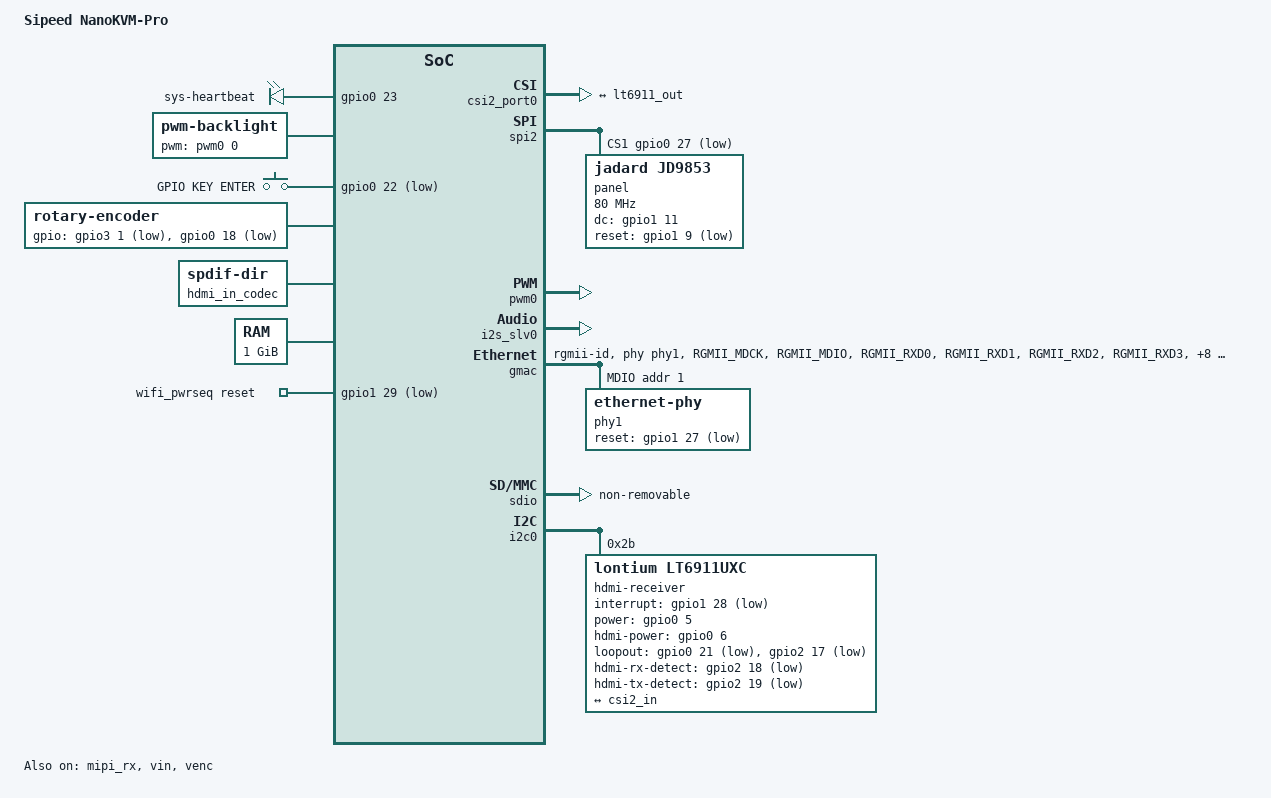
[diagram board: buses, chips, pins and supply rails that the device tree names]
// SPDX-License-Identifier: GPL-2.0
/dts-v1/;

/*
 * Sipeed NanoKVM-Pro (Axera AX630C) -- minimal mainline board DT (#74).
 *
 * Board facts only: memory size, the firmware carveouts, the console, and a
 * cmdline that satisfies the U-Boot contract. Peripherals arrive with their
 * drivers (see ax630c.dtsi).
 */

#include <dt-bindings/gpio/gpio.h>
#include <dt-bindings/input/linux-event-codes.h>

#include "ax630c.dtsi"

/ {
	model = "Sipeed NanoKVM-Pro";
	compatible = "sipeed,nanokvm-pro", AX630C_SOC_COMPAT;

	aliases {
		serial0 = &uart0;
		ethernet0 = &gmac;
	};

	/*
	 * The heartbeat LED (#81). GPIO0_A23 on pad SD_PWR_EN, active high.
	 *
	 * No linux,default-trigger: the bring-up initramfs blinks this line
	 * itself through /dev/mem, because on a kernel with no rootfs it is the
	 * only channel that says "userspace was reached" to a human in the
	 * room. A kernel heartbeat trigger would fight it. What the node is
	 * for meanwhile is ownership -- it is the cheapest end-to-end proof
	 * that gpio-ranges reached the pin controller, since a claimed line
	 * shows up in both /sys/kernel/debug/gpio and pinmux-pins.
	 *
	 * The same line is `reset-gpio` of the vendor DT's panel_dsi node.
	 * That node is disabled on this board and has no mainline counterpart,
	 * but do not be surprised to find GPIO0_A23 described as a panel reset
	 * elsewhere.
	 */
	leds {
		compatible = "gpio-leds";

		led-heartbeat {
			label = "sys-heartbeat";
			gpios = <&gpio0 23 GPIO_ACTIVE_HIGH>;
			default-state = "off";
		};
	};

	/*
	 * The mini-display's backlight (#84). `bl_power` 0/1 and `brightness`
	 * 0..100 under /sys/class/backlight/backlight is the ABI the status
	 * daemon uses to blank the panel after three idle minutes, and the
	 * node name is what names that directory -- do not rename it.
	 *
	 * The three brightness properties are the vendor's: two levels with
	 * 100 interpolated steps between them, so max_brightness is 100 and
	 * the mapping is linear. The period is 462963 ns = 2160 Hz, which at
	 * the 24 MHz counter clock is 11111 ticks.
	 *
	 * PWM_POLARITY_NORMAL, and it is load-bearing. The DesignWare PWM
	 * holds the LOW period in one register and the HIGH period in the
	 * other, and upstream's driver models that as inversed polarity only
	 * -- so brightness would run backwards. Patch 0002 teaches the core
	 * both directions; this cell is what asks for the one that makes a
	 * longer high period brighter, which is how the vendor drives it.
	 */
	backlight: backlight {
		compatible = "pwm-backlight";
		pwms = <&pwm0 0 462963 0>;	/* 0 = PWM_POLARITY_NORMAL */
		brightness-levels = <0 101>;
		num-interpolated-steps = <100>;
		default-brightness-level = <100>;
	};

	/*
	 * The knob (#84), which is a rotary encoder with a push switch.
	 *
	 * No pinctrl-0 on either node, for the same reason the ATX lines have
	 * none: all three pads are GPIOs, and requesting a GPIO line is what
	 * programs the pad's mux (gpio-ranges -> gpio_request_enable).
	 *
	 * The node names are an ABI here, not a style choice. gpio_keys takes
	 * the input device's name from `label` or, absent that, from the
	 * platform device's name, which comes from the node -- and
	 * nanokvm-display finds its two wake sources by EVIOCGNAME. `label`
	 * pins the button's name; the encoder's node name is what pins its.
	 */
	gpio-keys {
		compatible = "gpio-keys";
		label = "gpio_keys";
		autorepeat;

		key-knob {
			label = "GPIO KEY ENTER";
			linux,code = <KEY_ENTER>;
			gpios = <&gpio0 22 GPIO_ACTIVE_LOW>;
			debounce-interval = <10>;
		};
	};

	rotary-encoder {
		compatible = "rotary-encoder";
		gpios = <&gpio3 1 GPIO_ACTIVE_LOW>, <&gpio0 18 GPIO_ACTIVE_LOW>;
		linux,axis = <0>;		/* REL_X */
		rotary-encoder,encoding = "gray";
		rotary-encoder,relative-axis;
		rotary-encoder,steps-per-period = <4>;
	};

	/*
	 * HDMI audio (#84). The LT6911UXC recovers the audio embedded in the
	 * HDMI stream and clocks it out as I2S; the SoC is a pure slave on
	 * both the bit clock and the frame clock, which is what
	 * bitclock-master/frame-master pointing at the codec says.
	 *
	 * THE CODEC IS A STUB, because there is nothing to program: the
	 * bridge's audio side is configured over its own I2C interface by
	 * drivers/misc/lt6911-manage.c, not by ASoC. The vendor invented a
	 * `dummy-codec` driver for this; mainline's equivalent is
	 * `linux,spdif-dir`, whose binding is literally titled "Dummy SPDIF
	 * Transmitter/Receiver". It is capture-only, which is also correct
	 * here -- the vendor's stub advertised a playback stream this board
	 * cannot have.
	 *
	 * The card name is the vendor's verbatim: it is what `arecord -l`
	 * prints and what libkvm's ALSA capture opens by index.
	 */
	hdmi_in_codec: spdif-in {
		compatible = "linux,spdif-dir";
		#sound-dai-cells = <0>;
	};

	sound {
		compatible = "simple-audio-card";
		simple-audio-card,name = "Lontium Lt6911UXC";
		simple-audio-card,format = "i2s";
		simple-audio-card,bitclock-master = <&lt6911_codec>;
		simple-audio-card,frame-master = <&lt6911_codec>;

		simple-audio-card,cpu {
			sound-dai = <&i2s_slv0>;
		};

		lt6911_codec: simple-audio-card,codec {
			sound-dai = <&hdmi_in_codec>;
		};
	};

	chosen {
		stdout-path = "serial0:115200n8";

		/*
		 * U-Boot overwrites this from its `bootargs` env at `booti`
		 * (fdt_chosen), so the string here is a documented default, not
		 * the authority. Two traps it encodes (docs/mainline-port.md
		 * section 5):
		 *
		 *  - blkdevparts= IS U-Boot's partition table. U-Boot parses it
		 *    out of its own env; if the clause is missing it silently
		 *    resets the env to the vendor BOOTARGS_EMMC. Never ship a
		 *    cmdline without it.
		 *  - fdt_chosen needs free space in the blob or boot_prep_linux
		 *    calls hang(). pkgs/dtb-mainline.nix passes `dtc -p 4096`
		 *    so a longer env string always fits.
		 *
		 * No mem= clause: the memory node below is correct, unlike the
		 * vendor DT's, so the kernel does not need to be told twice.
		 * U-Boot appends its own mem= from the board-id ADC read; that
		 * is harmless and will be dropped when U-Boot moves (#26).
		 *
		 * The clause below is the MINIMAL layout (#89 rung 4): six
		 * partitions, no A/B twins, no ddrinit/optee/logo/kernel/dtb.
		 * nixos/lib/emmc-layout.nix is where it is defined and it
		 * ASSERTS that this string matches, so the two cannot drift.
		 */
		bootargs = "console=ttyS0,115200n8 earlycon=uart8250,mmio32,0x4880000 loglevel=8 root=/dev/mmcblk0p6 rootfstype=ext4 rw rootwait blkdevparts=mmcblk0:768K(spl),256K(atf),1536K(uboot),256K(env),275M(boot),-(rootfs)";
	};

	/*
	 * 1 GiB. The vendor DT claims 3 GiB (0xC0000000) and relies on U-Boot's
	 * mem= to cut it down -- wrong for every NanoKVM-Pro variant. Board
	 * variants differ only in this node.
	 */
	memory@40000000 {
		device_type = "memory";
		reg = <0x0 0x40000000 0x0 0x40000000>;
	};

	reserved-memory {
		#address-cells = <2>;
		#size-cells = <2>;
		ranges;

		/* TF-A 2.7. no-map: secondary CPU bring-up runs from here. */
		atf@40040000 {
			reg = <0x0 0x40040000 0x0 0x40000>;
			no-map;
		};

		/*
		 * OP-TEE 3.21, firewalled by the ATF. Nothing in our stack
		 * calls it (no TEEC_ or tee_ symbol in any component), but the region
		 * must stay reserved regardless -- the secure world is using
		 * it whether or not Linux talks to it.
		 */
		optee@44200000 {
			reg = <0x0 0x44200000 0x0 0x2000000>;
			no-map;
		};

		/*
		 * The vendor kernel's pstore zones. Kept reserved, and untouched,
		 * so that a mainline excursion on slot B does not destroy the
		 * crash history of the slot-A system that has to diagnose it.
		 * The vendor DT declares one ramoops region here, 0xf0000 long,
		 * whose zones only reach 0x480e0000 -- everything past that is
		 * reserved on both sides and used by neither, which is why the
		 * two regions below can live there.
		 */
		vendor-pstore@48000000 {
			reg = <0x0 0x48000000 0x0 0xd4000>;
			no-map;
		};

		/*
		 * Our ramoops, deliberately NOT at the head of the window: the
		 * vendor kernel's own ramoops zaps every zone it owns at its
		 * probe, about 1.5 s into the boot that would read ours. A log
		 * written at 0x48000000 is destroyed by the very kernel meant to
		 * recover it (measured 2026-09-06).
		 *
		 * More precisely, this sits inside the DATA area of the vendor
		 * ramoops' ftrace zone (0x480d0000-0x480f0000). Nothing writes
		 * that data unless pstore function tracing is switched on, and
		 * the zap at the vendor's probe rewrites only the zone's own
		 * 12-byte header at 0x480d0000 -- which is why this region
		 * starts at 0x480d4000 and not at that header. Confirmed on
		 * hardware: a full mainline boot log written here was still
		 * intact after the vendor kernel had booted and read it.
		 *
		 * mem-type 1 is uncached. On a board whose only reset is a
		 * watchdog or a raw chip reset, neither of which writes back
		 * dirty cache lines, a cacheable pstore zone is a log that
		 * evaporates in exactly the case it exists for.
		 *
		 * Both sizes are powers of two because ramoops rounds them down
		 * to one anyway, so a DT that has to be simulated to know its
		 * own layout is worse than a DT that is simply explicit. 0x8000
		 * console and the 0x4000 remainder as two 0x2000 dump records.
		 *
		 * **The console zone must hold a WHOLE boot log.** At 0x4000 it
		 * did not: a full appliance boot is 25478 bytes of console text
		 * (measured), the ring kept only the last 16 KB, and the MDIO
		 * bus scan at t=1 s -- the thing rung 2q had to see -- had been
		 * overwritten by the time the board reset. 0x8000 covers it.
		 *
		 * The region also stops at 0x480e0000 on purpose: a slot-B
		 * excursion is read back by a slot-A system that may still be
		 * running an OLDER dtb, whose own ramoops owns 0x480e0000
		 * upwards and zeroes it on the very boot that is supposed to
		 * recover the log. Keep this window disjoint from every address
		 * the reader might claim.
		 *
		 * This is the only channel that survives when userspace never
		 * runs: the console zone holds the boot log from the first
		 * printk (pstore's console registers with CON_PRINTBUFFER, so
		 * the buffered log is replayed into it), and the dump zone holds
		 * the panic.
		 *
		 * Reading it back is NOT `ls /sys/fs/pstore`. systemd-pstore
		 * archives every record into /var/lib/systemd/pstore and unlinks
		 * it about ten seconds into each boot, under fixed names that the
		 * next boot overwrites -- and the unlink calls
		 * ramoops_pstore_erase(), which zaps the LIVE console zone.
		 */
		ramoops@480d4000 {
			compatible = "ramoops";
			reg = <0x0 0x480d4000 0x0 0xc000>;
			console-size = <0x8000>;
			record-size = <0x2000>;
			mem-type = <1>;
		};

		/*
		 * The bring-up initramfs's kernel-log stash
		 * (pkgs/kernel-mainline/initramfs/bringup-init.c). Mapped, not
		 * no-map, and written through an O_SYNC /dev/mem mapping, which
		 * arm64 makes write-combining -- so it reaches DRAM without
		 * depending on a cache flush that no reset on this SoC performs.
		 *
		 * Read it back from the vendor system after the excursion:
		 *   dd if=/dev/mem bs=4096 skip=$((0x480e8000/4096)) count=8
		 * The first 32 bytes are a magic string and a u32 length at +24.
		 */
		bringup-log@480e8000 {
			reg = <0x0 0x480e8000 0x0 0x8000>;
		};

		/*
		 * The video carveouts (#83), at the ADDRESSES THE 4.19 IMAGE
		 * HAS BEEN DMAing TO SINCE #53 -- 0x73800000-0x7FFFFFFF, the
		 * top 200 MiB of the GiB. On 4.19 a shell loader computed this
		 * split from the board-id ADC read and passed it to three
		 * modules as parameters; here it is three DT nodes, and
		 * `compute_mem_map` has no counterpart at all.
		 *
		 * They are ABOVE what the kernel treats as RAM, and that is
		 * deliberate rather than accidental. The command line carries
		 * `mem=512M` (boot.kernelParams, nixos/appliance.nix), so memblock ends at
		 * 0x60000000 and none of this is System RAM; `no-map` regions
		 * outside memory are explicitly supported
		 * (drivers/of/of_reserved_mem.c: "don't worry if the region
		 * isn't memory as it won't be mapped"), and the DMA pool code
		 * memremaps them write-combining, which is exactly what
		 * dma_declare_coherent_memory() did on 4.19. So this works
		 * whatever `mem=` ends up being, and raising it later cannot
		 * silently eat these regions.
		 *
		 * no-map on all three, not `reusable`: the WDMA and the encoder
		 * consume bus addresses out of a register program, so the
		 * region has to be at a fixed place, and the kernel must never
		 * hand any of it to the page allocator.
		 */

		/*
		 * Encoder frame buffers. NOT a dma pool -- the kernel never
		 * maps this at all; the driver hands out bus addresses from a
		 * first-fit list of its own (vc8000e/framebuf_alloc.c) and
		 * userspace mmaps them write-combining through the char
		 * device. No power-of-two tax here, unlike the capture pool
		 * below: a floorplan costs exactly its span.
		 *
		 * 96 MiB, down from 136 (#98) to pay for the capture pool. The
		 * shipped path allocates one floorplan at a time with
		 * want_input = 0: 14.97 MiB at 1080p, 59.21 at 3840x2160,
		 * 63.14 at 4096x2160, 70.43 at the 4096x2400 corner. The
		 * standalone prover (ewl_encode) also reserves a 4*W*H input
		 * region, which it fills itself, and that floorplan is 90.86
		 * MiB at 3840x2160 and 96.89 at 4096x2160 -- so the prover now
		 * runs up to 3840x2160 and the live pipeline is the oracle
		 * above that. .#checks.open-venc-geometry pins both halves.
		 */
		venc_framebuf: venc-framebuf@73800000 {
			reg = <0x0 0x73800000 0x0 0x6000000>;
			no-map;
		};

		/*
		 * Capture buffers, 96 MiB (#98).
		 *
		 * THE SIZE IS NOT three-frames-worth OF BYTES. A declared
		 * coherent region is a bitmap allocator and
		 * dma_alloc_from_dev_coherent() rounds every allocation up to
		 * a power-of-two page order, aligned to itself, so a buffer
		 * costs 2^ceil(log2(frame)) -- 16 MiB for a 15.82 MiB
		 * 3840x2160 frame, and 32 MiB for anything from 16.01 to 32
		 * MiB, which is every geometry above 3840x2160. vb2 refuses
		 * REQBUFS outright below min_queued_buffers + 1 = 3 buffers,
		 * so the pool has to hold three of those 32 MiB slots.
		 *
		 * Measured on hardware before this was resized: out of 56 MiB
		 * the driver allocated three buffers at 3840x2160 and could
		 * not allocate a single one at 3840x2400, 4096x2160 or
		 * 4096x2400 -- so the 16:10 EDID this project ships (#61) was
		 * already unusable and nothing said so.
		 */
		capture_pool: capture-pool@79800000 {
			compatible = "shared-dma-pool";
			reg = <0x0 0x79800000 0x0 0x6000000>;
			no-map;
		};

		/*
		 * The VCMD engine's own three coherent pools (command, status,
		 * register), 2 MiB each plus slack.
		 */
		venc_cmdbuf: venc-cmdbuf@7f800000 {
			compatible = "shared-dma-pool";
			reg = <0x0 0x7f800000 0x0 0x800000>;
			no-map;
		};
	};

	/*
	 * The WiFi module's reset line (#85), as an MMC power sequencer rather
	 * than a driver-private GPIO.
	 *
	 * The vendor describes this radio as a platform device
	 * (`aicsemi,aic_bsp`, reset GPIO1_A29) whose driver toggles the line
	 * itself. That is not how mainline does an SDIO card: the reset has to
	 * be released BEFORE the host scans the bus, or the scan finds nothing
	 * and the SDIO driver is never probed at all. mmc-pwrseq-simple is the
	 * standard binding for exactly that, and it runs from the MMC core at
	 * card-power-up time.
	 *
	 * GPIO1_A29 is pad EPHY_LED1 (pinctrl pin 32, mux word 0x104F0078,
	 * GPIO = function 6). The pad is deliberately NOT in `gmac_pins` --
	 * see the comment there -- so claiming it here is what programs its
	 * mux, and nothing else on this board wants it.
	 *
	 * ACTIVE_LOW is the polarity the part's datasheet family uses for a
	 * RESETN pin and it is what the live board reads at the pad, but it is
	 * NOT hardware-verified for this line yet -- the first WiFi hardware
	 * round is what settles it. If the card never enumerates, this is the
	 * first thing to invert.
	 */
	wifi_pwrseq: wifi-pwrseq {
		compatible = "mmc-pwrseq-simple";
		reset-gpios = <&gpio1 29 GPIO_ACTIVE_LOW>;
		/*
		 * The radio's own boot takes a while after reset is released
		 * and the MMC core starts clocking the bus immediately. 200 ms
		 * is what the vendor stack waits before its first SDIO access.
		 */
		post-power-on-delay-ms = <200>;
	};
};

/*
 * The video path (#83). Three nodes enabled and one graph edge closed: the
 * LT6911UXC's MIPI output into the SoC's CSI-2 receiver.
 *
 * The lane map is the board's wiring and it lives here, in the endpoint, which
 * is the only place a board fact belongs. `clock-lanes = <2>` and
 * `data-lanes = <0 1 3 4>` are the PHYSICAL lane slots feeding the logical
 * clock and the four logical data lanes -- device-confirmed 2026-09-01 from
 * the vendor's own streaming state (the D-PHY swap mirror reads 0x0005c540;
 * a naive 0..5 map reads 0x00053940 and produces a locked PHY that forwards
 * short packets and no pixel data).
 */
&mipi_rx {
	status = "okay";
};

&csi2_port0 {
	csi2_in: endpoint {
		remote-endpoint = <&lt6911_out>;
		clock-lanes = <2>;
		data-lanes = <0 1 3 4>;
	};
};

&vin {
	status = "okay";
	memory-region = <&capture_pool>;
};

&venc {
	status = "okay";
	memory-region = <&venc_cmdbuf>, <&venc_framebuf>;
	memory-region-names = "cmdbuf", "framebuf";
};

/*
 * The mini-display (#84). A Jadard JD9853 on SPI2, chip select 1.
 *
 * CS0 IS A HOLE, deliberately. The controller has two chip selects; the
 * panel is on the second, and the pad that would carry the first is a GPIO on
 * this board. An empty phandle cell is the documented way to say "index 0 has
 * no GPIO" -- spi-controller.yaml allows it, and the SPI core takes the
 * native chip select for that index, which reaches a pad nothing is on.
 *
 * TWO GPIO POLARITIES THAT DISAGREE WITH THE VENDOR DEVICE TREE, and getting
 * either wrong is a blank panel with no error message:
 *
 *  - `dc-gpios` is ACTIVE_HIGH here where the vendor says active-low. 4.19
 *    fbtft drove this line with gpio_set_value(), which is the RAW API and
 *    ignores the flag; mainline uses gpiod_set_value(), which does not. The
 *    pad must be high for data and low for command either way.
 *  - `reset-gpios` STAYS active-low: fbtft_reset() asserts then deasserts
 *    logically, which with this flag is the same low-then-high pulse the
 *    vendor's raw writes produced.
 *
 * NO `te-gpios`. The vendor driver uses the panel's tearing-effect strobe to
 * start each frame at V-blank, and carries a workqueue, a 5 s liveness timer
 * and a second framebuffer to do it. The port drops all of that -- see the
 * comment at the top of drivers/staging/fbtft/fb_jd9853.c. The pad
 * (CDTX_L1P/GPIO2_A13) is left alone, which also keeps this off the list of
 * CDTX_* pads a pinctrl state must not move without parking the D-PHY
 * transmitter first.
 *
 * `rotate = <0>` is the framebuffer's own geometry, not the panel's mounting:
 * /dev/fb0 is 172x320 portrait and the daemon rotates into it. `buswidth` and
 * the SPI mode are the vendor's and are what the controller expects.
 */
&spi2 {
	status = "okay";
	cs-gpios = <0>, <&gpio0 27 GPIO_ACTIVE_LOW>;

	panel@1 {
		compatible = "jadard,jd9853";
		reg = <1>;
		spi-max-frequency = <80000000>;
		spi-cpol;
		spi-cpha;
		buswidth = <8>;
		rotate = <0>;
		fps = <90>;
		dc-gpios = <&gpio1 11 GPIO_ACTIVE_HIGH>;
		reset-gpios = <&gpio1 9 GPIO_ACTIVE_LOW>;
	};
};

&pwm0 {
	status = "okay";
};

&i2s_slv0 {
	status = "okay";
};

/*
 * Ethernet (#77). A Realtek RTL8211F at MDIO address 1, RGMII.
 *
 * NOT a JLSemi JL2101, whatever the vendor DT says. That DT declares
 * `compatible = "ethernet-phy-id937c.4030"` on this node, which makes the MDIO
 * core skip the bus read entirely and bind the vendor's JLSemi driver to
 * whatever is actually there. Read over MDIO on the running board 2026-09-06,
 * the part answers PHYID1 = 0x001c, PHYID2 = 0xc916 -- Realtek's RTL8211F, and
 * mainline's own realtek driver claims it. So there is no JL2101 driver to
 * write; that half of #77's scope simply does not exist on this hardware.
 *
 * Hence no `compatible` on the PHY node here: the scan reads the real ID.
 *
 * phy-mode = "rgmii-id", and this is the whole ballgame. The RTL8211F's two
 * 2 ns delays come up ENABLED from pin-strapping (measured: page 0xd08 TXCR
 * bit 8 = 1, RXCR bit 3 = 1 on the running vendor system), and the vendor's
 * JLSemi driver never writes them -- its RGMII block is compiled out. Mainline's
 * realtek driver is not so passive: rtl8211f_config_rgmii_delay() writes both
 * bits to match phy-mode, so "rgmii" DISABLES the delays the board is built
 * around. That failure looks like success -- the link trains and reports
 * 1 Gbps/full -- and then no frame survives. It cost one boot cycle to find.
 *
 * The twenty `jl2xxx,*` tuning properties the vendor DT carries are inert even
 * on the driver they were written for (each is gated behind a compile-time
 * operation mode that is NONE or C_MACRO), and irrelevant here regardless.
 */
&gmac {
	status = "okay";
	phy-mode = "rgmii-id";
	phy-handle = <&phy1>;
	pinctrl-names = "default";
	pinctrl-0 = <&gmac_pins>;

	mdio {
		compatible = "snps,dwmac-mdio";
		#address-cells = <1>;
		#size-cells = <0>;

		/*
		 * RSTn is GPIO1_A27, pad EPHY_RSTN, active low. The MDIO core
		 * pulses it when this device registers -- before it reads the
		 * PHY's ID, which is the only ordering that matters. Firmware
		 * does not drive it: on a cold or chip reset every GPIO line
		 * comes up an input, so RSTn is left to whatever the board
		 * pulls it to.
		 *
		 * The glue used to do this itself by poking the GPIO block's
		 * line word through an address in DT, because there was no
		 * GPIO controller to name (#77). #81 gave it one, and the two
		 * delays below are the ones that glue used.
		 */
		phy1: ethernet-phy@1 {
			reg = <1>;
			reset-gpios = <&gpio1 27 GPIO_ACTIVE_LOW>;
			reset-assert-us = <15000>;
			reset-deassert-us = <75000>;
		};
	};
};

/*
 * WiFi (#85). An AIC8800 on the SDIO host at 0x104d0000, described in
 * ax630c.dtsi and disabled there; this is the board saying a radio is soldered
 * to it.
 *
 * NO CHILD NODE. The driver binds by SDIO vendor/device ID (aicsdio.c's
 * `sdio_device_id` table -- vendor 0xc8a1 for the DC/D80 family, 0x5449 for
 * the 8801), which the card reports from its own CIS at enumeration. A
 * `compatible` child would describe nothing the bus does not already say, and
 * the chip variant is exactly the thing this board has not yet been asked.
 *
 * `non-removable` because it is soldered, and because it is what makes the MMC
 * core scan the bus at probe rather than waiting for a card-detect that does
 * not exist (the controller already has `broken-cd`). `cap-power-off-card`
 * lets the core cycle the pwrseq line across a rescan, which is the only way
 * back if the radio's firmware wedges. `keep-power-in-suspend` is free here --
 * this appliance does not suspend -- and is what the binding wants for an SDIO
 * function that must survive one.
 */
&sdio {
	status = "okay";
	non-removable;
	cap-power-off-card;
	keep-power-in-suspend;
	mmc-pwrseq = <&wifi_pwrseq>;
};

/*
 * ATX (#81). Four lines to the host's front-panel header, driven from
 * userspace: the KVM's whole reason to exist is pressing a button on a machine
 * that is not this one.
 *
 * They are named rather than hogged. A hog would claim them for the kernel and
 * put them out of reach of the chardev, and userspace is the only thing that
 * knows when a press should happen. Naming them means tools/nanokvm-gpio can
 * ask for "atx-power" instead of a global number that moves whenever a
 * gpiochip probes in a different order.
 *
 * This is also the root fix for the SW_PWR trap (docs/mini-display.md). SW_PWR
 * is GPIO0_A7 on pad VI_D7, which is also a capture data pad; the vendor's
 * capture stack re-muxed it at every pipeline init and its GPIO driver stubbed
 * chip->request, so nothing ever muxed it back and the value file went on
 * echoing a latch that reached no ball. Here, requesting the line programs the
 * mux (gpio-ranges -> gpio_request_enable), and the pin controller's strict
 * mode means a peripheral state cannot take the pad while a line is held. The
 * rule that keeps it that way: whatever declares the capture pin group in #83
 * must not list VI_D7.
 *
 * THE POLARITY IS NOT HERE, AND CANNOT BE (#105). Both LED senses are
 * inverted -- the host is ON when atx-power-led reads 0 -- but
 * `gpio-line-names` is a bare string array with no flags cell, so there is
 * nowhere in this node to write GPIO_ACTIVE_LOW and the kernel is never told.
 * A chardev request that does not ask for it gets the raw pad, which is how
 * the web UI came to report every powered host as off. The board fact lives
 * in `board_polarity[]` in pkgs/nanokvm-gpio/nanokvm-gpio.c; if these names
 * ever change, change it there too.
 */
&gpio0 {
	gpio-line-names =
		"", "", "", "", "", "", "", "atx-power",
		"", "", "", "", "", "", "", "",
		"", "", "", "", "", "", "", "sys-heartbeat";
};

&gpio1 {
	gpio-line-names =
		"", "", "", "atx-reset", "", "", "", "",
		"", "", "", "", "", "", "", "",
		"", "", "", "", "", "", "", "",
		"", "", "", "", "", "wifi-reset";
};

&gpio2 {
	gpio-line-names =
		"", "", "", "", "", "", "", "",
		"", "", "atx-hdd-led", "atx-power-led";
};

/*
 * The LT6911UXC HDMI receiver (#81), the front end of the whole capture path.
 *
 * The vendor has no DT node for this part at all: its driver hardcodes
 * i2c_get_adapter(0), the address 0x2b, seven global GPIO numbers and seven
 * pinmux register writes. Every one of those is a board fact, and every one of
 * them lives here now.
 *
 * Polarity is declared, not coded. The two loopout enables are active low in
 * hardware and the two cable-detect inputs read 0 when a connector is mated;
 * saying so here is what lets the driver read as "1 means present".
 *
 * The interrupt line is EPHY_LED0, which the bootloader's pad table leaves
 * muxed to its EPHY function -- the vendor driver re-muxed it by hand at
 * runtime, which is measurable on the running board (the pad word reads
 * 0x00060083, not the 0x00000083 the boot table writes). Claiming the GPIO
 * does that properly. The pull-up is not ours to invent: it is in the boot
 * table already, and the vendor's own changelog records adding it for a board
 * revision whose interrupt line floated. It is spelled out below so the pad
 * keeps it whoever else touches the word.
 */
&i2c0 {
	status = "okay";

	hdmi-receiver@2b {
		compatible = "lontium,lt6911uxc";
		reg = <0x2b>;

		pinctrl-names = "default";
		pinctrl-0 = <&lt6911_int_pins>;

		interrupt-gpios = <&gpio1 28 GPIO_ACTIVE_LOW>;
		power-gpios = <&gpio0 5 GPIO_ACTIVE_HIGH>;
		hdmi-power-gpios = <&gpio0 6 GPIO_ACTIVE_HIGH>;
		loopout-gpios = <&gpio0 21 GPIO_ACTIVE_LOW>,
				<&gpio2 17 GPIO_ACTIVE_LOW>;
		hdmi-rx-detect-gpios = <&gpio2 18 GPIO_ACTIVE_LOW>;
		hdmi-tx-detect-gpios = <&gpio2 19 GPIO_ACTIVE_LOW>;

		/*
		 * The bridge's MIPI output (#83). drivers/misc/lt6911-manage.c
		 * is not a V4L2 subdev -- the bridge needs no per-stream
		 * programming and its /proc interface is the ABI userspace
		 * reads -- so nothing binds to this endpoint. It exists
		 * because the receiver reads its lane map from the far side of
		 * it, and because a capture graph that stops at the SoC's own
		 * pin is a graph that does not say where the video comes from.
		 */
		port {
			lt6911_out: endpoint {
				remote-endpoint = <&csi2_in>;
				clock-lanes = <2>;
				data-lanes = <0 1 3 4>;
			};
		};
	};
};

&pinctrl {
	/*
	 * Electrical configuration only, no function property: the mux is
	 * programmed by the GPIO claim, and a state that named a function
	 * would fight it under strict mode.
	 */
	lt6911_int_pins: lt6911-int-pins {
		lt6911-int {
			pins = "EPHY_LED0";
			bias-pull-up;
			drive-strength = <3>;
			input-schmitt-disable;
		};
	};

	/*
	 * The RGMII bus and its management pair (#89 rung 2q).
	 *
	 * These fourteen pads were the last thing on the board that NOTHING in
	 * Linux programmed: no pinctrl group named them and no GPIO consumer
	 * claimed them, so the kernel simply inherited whatever the loader had
	 * left. The vendor-derived U-Boot has an ethernet driver and leaves
	 * every one of them at mux 0, drive-strength 15 (read back as
	 * 0x0000000F at 0x104f003c..0x104f0108 on the running board). Mainline
	 * U-Boot has no ethernet driver, leaves them alone, and MDC/MDIO
	 * therefore never reach the PHY: the bus scan finds nothing at any of
	 * the 32 addresses and stmmac reports
	 *
	 *   mdio_bus stmmac-0: MDIO device at address 1 is missing.
	 *
	 * A board that only works because a particular bootloader happened to
	 * program its pads is not ported. Naming them here is the same lesson
	 * as the SW_PWR trap, one bus over.
	 *
	 * EPHY_CLK, EPHY_RSTN, EPHY_LED0 and EPHY_LED1 are deliberately NOT in
	 * this group: they are GPIOs on this board and their mux is programmed
	 * by the GPIO claim.
	 */
	gmac_pins: gmac-pins {
		gmac-mdio {
			pins = "RGMII_MDCK", "RGMII_MDIO";
			function = "rgmii";
			drive-strength = <15>;
			bias-disable;
			input-schmitt-disable;
		};

		gmac-rgmii {
			pins = "RGMII_RXD0", "RGMII_RXD1", "RGMII_RXD2",
			       "RGMII_RXD3", "RGMII_RXDV", "RGMII_RXCLK",
			       "RGMII_TXD0", "RGMII_TXD1", "RGMII_TXD2",
			       "RGMII_TXD3", "RGMII_TXEN", "RGMII_TXCLK";
			function = "rgmii";
			drive-strength = <15>;
			bias-disable;
			input-schmitt-disable;
		};
	};
};
